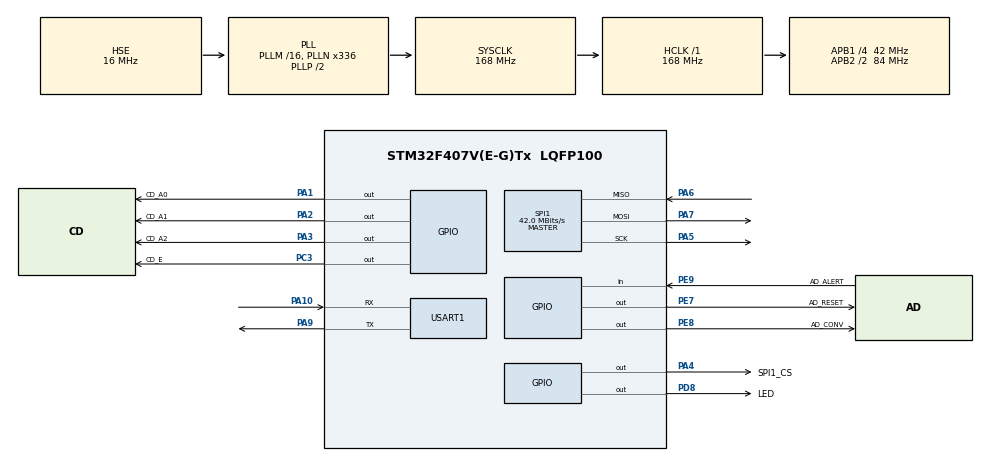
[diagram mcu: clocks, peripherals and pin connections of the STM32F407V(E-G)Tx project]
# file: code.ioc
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Dma.Request0=SPI1_RX
Dma.Request1=SPI1_TX
Dma.Request2=USART1_RX
Dma.Request3=USART1_TX
Dma.SPI1_RX.0.Direction=DMA_PERIPH_TO_MEMORY
Dma.SPI1_RX.0.FIFOMode=DMA_FIFOMODE_DISABLE
Dma.SPI1_RX.0.Instance=DMA2_Stream0
Dma.SPI1_RX.0.MemDataAlignment=DMA_MDATAALIGN_HALFWORD
Dma.SPI1_RX.0.MemInc=DMA_MINC_ENABLE
Dma.SPI1_RX.0.Mode=DMA_NORMAL
Dma.SPI1_RX.0.PeriphDataAlignment=DMA_PDATAALIGN_HALFWORD
Dma.SPI1_RX.0.PeriphInc=DMA_PINC_DISABLE
Dma.SPI1_RX.0.Priority=DMA_PRIORITY_VERY_HIGH
Dma.SPI1_TX.1.Direction=DMA_MEMORY_TO_PERIPH
Dma.SPI1_TX.1.FIFOMode=DMA_FIFOMODE_DISABLE
Dma.SPI1_TX.1.Instance=DMA2_Stream3
Dma.SPI1_TX.1.MemDataAlignment=DMA_MDATAALIGN_HALFWORD
Dma.SPI1_TX.1.MemInc=DMA_MINC_ENABLE
Dma.SPI1_TX.1.Mode=DMA_NORMAL
Dma.SPI1_TX.1.PeriphDataAlignment=DMA_PDATAALIGN_HALFWORD
Dma.SPI1_TX.1.PeriphInc=DMA_PINC_DISABLE
Dma.SPI1_TX.1.Priority=DMA_PRIORITY_VERY_HIGH
Dma.USART1_RX.2.Direction=DMA_PERIPH_TO_MEMORY
Dma.USART1_RX.2.FIFOMode=DMA_FIFOMODE_DISABLE
Dma.USART1_RX.2.Instance=DMA2_Stream2
Dma.USART1_RX.2.MemDataAlignment=DMA_MDATAALIGN_BYTE
Dma.USART1_RX.2.MemInc=DMA_MINC_ENABLE
Dma.USART1_RX.2.Mode=DMA_NORMAL
Dma.USART1_RX.2.PeriphDataAlignment=DMA_PDATAALIGN_BYTE
Dma.USART1_RX.2.PeriphInc=DMA_PINC_DISABLE
Dma.USART1_RX.2.Priority=DMA_PRIORITY_LOW
Dma.USART1_TX.3.Direction=DMA_MEMORY_TO_PERIPH
Dma.USART1_TX.3.FIFOMode=DMA_FIFOMODE_DISABLE
Dma.USART1_TX.3.Instance=DMA2_Stream7
Dma.USART1_TX.3.MemDataAlignment=DMA_MDATAALIGN_HALFWORD
Dma.USART1_TX.3.MemInc=DMA_MINC_ENABLE
Dma.USART1_TX.3.Mode=DMA_NORMAL
Dma.USART1_TX.3.PeriphDataAlignment=DMA_PDATAALIGN_HALFWORD
Dma.USART1_TX.3.PeriphInc=DMA_PINC_DISABLE
Dma.USART1_TX.3.Priority=DMA_PRIORITY_LOW
FREERTOS.Tasks01=defaultTask,24,128,StartDefaultTask,Default,NULL,Dynamic,NULL,NULL
Mcu.Family=STM32F4
Mcu.Name=STM32F407V(E-G)Tx
Mcu.Package=LQFP100
NVIC.DMA2_Stream0_IRQn=true\:5\:0\:false\:false\:true\:true\:false\:true\:true
NVIC.DMA2_Stream2_IRQn=true\:5\:0\:false\:false\:true\:true\:false\:true\:true
NVIC.DMA2_Stream3_IRQn=true\:5\:0\:false\:false\:true\:true\:false\:true\:true
NVIC.DMA2_Stream7_IRQn=true\:5\:0\:false\:false\:true\:true\:false\:true\:true
NVIC.PriorityGroup=NVIC_PRIORITYGROUP_4
NVIC.SPI1_IRQn=true\:5\:0\:false\:false\:true\:true\:true\:true\:true
NVIC.TIM6_DAC_IRQn=true\:15\:0\:false\:false\:true\:false\:false\:true\:true
NVIC.TimeBase=TIM6_DAC_IRQn
NVIC.TimeBaseIP=TIM6
NVIC.USART1_IRQn=true\:5\:0\:false\:false\:true\:true\:true\:true\:true
PA1.GPIO_Label=CD_A0
PA1.Signal=GPIO_Output
PA10.Mode=Asynchronous
PA10.Signal=USART1_RX
PA13.Mode=Serial_Wire
PA13.Signal=SYS_JTMS-SWDIO
PA14.Mode=Serial_Wire
PA14.Signal=SYS_JTCK-SWCLK
PA2.GPIO_Label=CD_A1
PA2.Signal=GPIO_Output
PA3.GPIO_Label=CD_A2
PA3.Signal=GPIO_Output
PA4.GPIO_Label=SPI1_CS
PA4.GPIO_Speed=GPIO_SPEED_FREQ_VERY_HIGH
PA4.PinState=GPIO_PIN_SET
PA4.Signal=GPIO_Output
PA5.Mode=Full_Duplex_Master
PA5.Signal=SPI1_SCK
PA6.Mode=Full_Duplex_Master
PA6.Signal=SPI1_MISO
PA7.Mode=Full_Duplex_Master
PA7.Signal=SPI1_MOSI
PA9.Mode=Asynchronous
PA9.Signal=USART1_TX
PC3.GPIO_Label=CD_E
PC3.PinState=GPIO_PIN_SET
PC3.Signal=GPIO_Output
PD8.GPIO_Label=LED
PD8.Signal=GPIO_Output
PE7.GPIO_Label=AD_RESET
PE7.GPIO_ModeDefaultOutputPP=GPIO_MODE_OUTPUT_PP
PE7.PinState=GPIO_PIN_SET
PE7.Signal=GPIO_Output
PE8.GPIO_Label=AD_CONV
PE8.PinState=GPIO_PIN_SET
PE8.Signal=GPIO_Output
PE9.GPIO_Label=AD_ALERT
PE9.GPIO_PuPd=GPIO_PULLDOWN
PE9.Signal=GPIO_Input
PH0-OSC_IN.Mode=HSE-External-Oscillator
PH0-OSC_IN.Signal=RCC_OSC_IN
PH1-OSC_OUT.Mode=HSE-External-Oscillator
PH1-OSC_OUT.Signal=RCC_OSC_OUT
ProjectManager.HeapSize=0x200
ProjectManager.StackSize=0x400
ProjectManager.TargetToolchain=MDK-ARM V5.32
RCC.48MHZClocksFreq_Value=84000000
RCC.AHBFreq_Value=168000000
RCC.APB1CLKDivider=RCC_HCLK_DIV4
RCC.APB1Freq_Value=42000000
RCC.APB1TimFreq_Value=84000000
RCC.APB2CLKDivider=RCC_HCLK_DIV2
RCC.APB2Freq_Value=84000000
RCC.APB2TimFreq_Value=168000000
RCC.CortexFreq_Value=168000000
RCC.HCLKFreq_Value=168000000
RCC.HSE_VALUE=16000000
RCC.HSI_VALUE=16000000
RCC.LSE_VALUE=32768
RCC.PLLN=336
RCC.PLLSourceVirtual=RCC_PLLSOURCE_HSE
RCC.SYSCLKFreq_VALUE=168000000
RCC.SYSCLKSource=RCC_SYSCLKSOURCE_PLLCLK
RCC.VCOOutputFreq_Value=336000000
SPI1.BaudRatePrescaler=SPI_BAUDRATEPRESCALER_2
SPI1.CalculateBaudRate=42.0 MBits/s
SPI1.DataSize=SPI_DATASIZE_16BIT
SPI1.Direction=SPI_DIRECTION_2LINES
SPI1.Mode=SPI_MODE_MASTER
SPI1.VirtualType=VM_MASTER
USART1.VirtualMode=VM_ASYNC
VP_FREERTOS_VS_CMSIS_V2.Mode=CMSIS_V2
VP_SYS_VS_tim6.Mode=TIM6
board=custom

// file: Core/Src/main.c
/* USER CODE BEGIN Header */
/**
  ******************************************************************************
  * @file           : main.c
  * @brief          : Main program body
  ******************************************************************************
  * @attention
  *
  * Copyright (c) 2024 STMicroelectronics.
  * All rights reserved.
  *
  * This software is licensed under terms that can be found in the LICENSE file
  * in the root directory of this software component.
  * If no LICENSE file comes with this software, it is provided AS-IS.
  *
  ******************************************************************************
  */
/* USER CODE END Header */
#include "main.h"
#include "cmsis_os.h"
#include "dma.h"
#include "spi.h"
#include "usart.h"
#include "gpio.h"

/* USER CODE BEGIN Includes */
#include "AD_Control.h"
/* USER CODE END Includes */

void SystemClock_Config(void);
void MX_FREERTOS_Init(void);

int main(void)
{

  /* MCU Configuration--------------------------------------------------------*/

  /* Reset of all peripherals, Initializes the Flash interface and the Systick. */
  HAL_Init();

  /* Configure the system clock */
  SystemClock_Config();

  /* Initialize all configured peripherals */
  MX_GPIO_Init();
  MX_DMA_Init();
  MX_SPI1_Init();
  MX_USART1_UART_Init();
  /* USER CODE BEGIN 2 */
	MX_AD_Init();
  /* USER CODE END 2 */

  /* Init scheduler */
  osKernelInitialize();  /* Call init function for freertos objects (in freertos.c) */
  MX_FREERTOS_Init();

  /* Start scheduler */
  osKernelStart();

  /* We should never get here as control is now taken by the scheduler */
  /* Infinite loop */
  while (1)
  {

  }
}

void SystemClock_Config(void)
{
  RCC_OscInitTypeDef RCC_OscInitStruct = {0};
  RCC_ClkInitTypeDef RCC_ClkInitStruct = {0};

  /** Configure the main internal regulator output voltage
  */
  __HAL_RCC_PWR_CLK_ENABLE();
  __HAL_PWR_VOLTAGESCALING_CONFIG(PWR_REGULATOR_VOLTAGE_SCALE1);

  /** Initializes the RCC Oscillators according to the specified parameters
  * in the RCC_OscInitTypeDef structure.
  */
  RCC_OscInitStruct.OscillatorType = RCC_OSCILLATORTYPE_HSE;
  RCC_OscInitStruct.HSEState = RCC_HSE_ON;
  RCC_OscInitStruct.PLL.PLLState = RCC_PLL_ON;
  RCC_OscInitStruct.PLL.PLLSource = RCC_PLLSOURCE_HSE;
  RCC_OscInitStruct.PLL.PLLM = 16;
  RCC_OscInitStruct.PLL.PLLN = 336;
  RCC_OscInitStruct.PLL.PLLP = RCC_PLLP_DIV2;
  RCC_OscInitStruct.PLL.PLLQ = 4;
  if (HAL_RCC_OscConfig(&RCC_OscInitStruct) != HAL_OK)
  {
    Error_Handler();
  }

  /** Initializes the CPU, AHB and APB buses clocks
  */
  RCC_ClkInitStruct.ClockType = RCC_CLOCKTYPE_HCLK|RCC_CLOCKTYPE_SYSCLK
                              |RCC_CLOCKTYPE_PCLK1|RCC_CLOCKTYPE_PCLK2;
  RCC_ClkInitStruct.SYSCLKSource = RCC_SYSCLKSOURCE_PLLCLK;
  RCC_ClkInitStruct.AHBCLKDivider = RCC_SYSCLK_DIV1;
  RCC_ClkInitStruct.APB1CLKDivider = RCC_HCLK_DIV4;
  RCC_ClkInitStruct.APB2CLKDivider = RCC_HCLK_DIV2;

  if (HAL_RCC_ClockConfig(&RCC_ClkInitStruct, FLASH_LATENCY_5) != HAL_OK)
  {
    Error_Handler();
  }
}

void HAL_TIM_PeriodElapsedCallback(TIM_HandleTypeDef *htim)
{
  if (htim->Instance == TIM6) {
    HAL_IncTick();
  }
}

void Error_Handler(void)
{
  __disable_irq();
  while (1)
  {
  }
}

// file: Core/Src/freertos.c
/* USER CODE BEGIN Header */
/**
  ******************************************************************************
  * File Name          : freertos.c
  * Description        : Code for freertos applications
  ******************************************************************************
  * @attention
  *
  * Copyright (c) 2024 STMicroelectronics.
  * All rights reserved.
  *
  * This software is licensed under terms that can be found in the LICENSE file
  * in the root directory of this software component.
  * If no LICENSE file comes with this software, it is provided AS-IS.
  *
  ******************************************************************************
  */
/* USER CODE END Header */

#include "FreeRTOS.h"
#include "task.h"
#include "main.h"
#include "cmsis_os.h"

/* USER CODE BEGIN Includes */
#include "spi.h"
#include "stdio.h"
#include "usart.h"
#include "queue.h"
#include "CD_Control.h"
#include "AD_Control.h"
/* USER CODE END Includes */

/* USER CODE BEGIN PD */
#define user_main_printf(format, ...) printf( format "\r\n", ##__VA_ARGS__)
/* USER CODE END PD */

/* USER CODE BEGIN Variables */

uint16_t RData;
uint16_t Alert;
uint16_t V_Matrix[8][8] = {0};

int fputc(int ch, FILE *f)

{
	uint16_t temp = ch;
  HAL_UART_Transmit(&huart1, (uint8_t *)&temp, sizeof(temp), 0xffff);

  return ch;

}

osThreadId_t LEDTaskHandle;
const osThreadAttr_t LEDTask_attributes = {
  .name = "LEDTask",
  .stack_size = 128 * 4,
  .priority = (osPriority_t) osPriorityNormal,
};
void StartLEDTask(void *argument);

osThreadId_t ADTaskHandle;
const osThreadAttr_t ADTask_attributes = {
  .name = "ADTask",
  .stack_size = 128 * 4,
  .priority = (osPriority_t) osPriorityLow,
};
void StartADTask(void *argument);

osThreadId_t DataTxTaskHandle;
const osThreadAttr_t DataTxTask_attributes = {
  .name = "DataTxTask",
  .stack_size = 128 * 4,
  .priority = (osPriority_t) osPriorityNormal,
};
void DataTxTask(void *argument);

void HAL_SPI_TxRxCpltCallback(SPI_HandleTypeDef *hspi);

QueueHandle_t myDataQueue01Handle;

/* USER CODE END Variables */
/* Definitions for defaultTask */
osThreadId_t defaultTaskHandle;
const osThreadAttr_t defaultTask_attributes = {
  .name = "defaultTask",
  .stack_size = 128 * 4,
  .priority = (osPriority_t) osPriorityNormal,
};

void StartDefaultTask(void *argument);

void MX_FREERTOS_Init(void); /* (MISRA C 2004 rule 8.1) */

void MX_FREERTOS_Init(void) {

  /* USER CODE BEGIN RTOS_QUEUES */
	myDataQueue01Handle = xQueueCreate(64, sizeof(uint16_t));
  /* add queues, ... */
  /* USER CODE END RTOS_QUEUES */

  /* Create the thread(s) */
  /* creation of defaultTask */
  defaultTaskHandle = osThreadNew(StartDefaultTask, NULL, &defaultTask_attributes);

  /* USER CODE BEGIN RTOS_THREADS */
	LEDTaskHandle = osThreadNew(StartLEDTask, NULL, &LEDTask_attributes);
	ADTaskHandle = osThreadNew(StartADTask, NULL, &ADTask_attributes);
	DataTxTaskHandle = osThreadNew(DataTxTask, NULL, &DataTxTask_attributes);
  /* add threads, ... */
  /* USER CODE END RTOS_THREADS */

}

void StartDefaultTask(void *argument)
{
  for(;;)
  {
    osDelay(1);
  }
}

/* USER CODE BEGIN Application */
  /* LED test */
void StartLEDTask(void *argument)
{
  for(;;)
  {
		HAL_GPIO_WritePin(LED_GPIO_Port, LED_Pin, GPIO_PIN_RESET);
		osDelay(100);
		HAL_GPIO_WritePin(LED_GPIO_Port, LED_Pin, GPIO_PIN_SET);
		osDelay(100);
  }
}

/* AD code */
void StartADTask(void *argument)
{
	uint8_t CD_Channel = 0;
	uint16_t cmd[2] = {0x0000, 0x1800};
  for(;;)
  {
		CD_Control(CD_Channel);
		for(int i = 0; i < 8; i++){
			CONV_Start();
			CONV_End();
			osDelay(1);
			SPI_CS_Enable();
			HAL_SPI_TransmitReceive_DMA(&hspi1, (uint8_t *)&cmd[0], (uint8_t*)&RData, 1);
			SPI_CS_Disable();
			osDelay(1);
			user_main_printf("%d",i);
			if(RData && 0x0400 != 0 ){
				SPI_CS_Enable();
				HAL_SPI_Transmit_DMA(&hspi1, (uint8_t *)&cmd[1], 1);
				HAL_SPI_Receive_DMA(&hspi1, (uint8_t*)&Alert, 1);
				SPI_CS_Disable();
				osDelay(1);
			}
		}
		CD_Channel += 1;
		if(CD_Channel > 7)
			CD_Channel = 0;
  }
}

void DataTxTask(void *argument)
{
	BaseType_t status;
	uint16_t msg;
	for(;;)
	{
		status = xQueueReceive(myDataQueue01Handle, &msg, portMAX_DELAY);
		if(status == pdPASS){
			user_main_printf("The ADC data is %d", msg);
		}
		else
			user_main_printf("No data");
	}
}

void HAL_SPI_TxRxCpltCallback(SPI_HandleTypeDef *hspi){

	RData <<= 4;
	RData >>= 4;
	/*xQueueSend(myDataQueue01Handle, &RData, 0);*/
}

/* USER CODE END Application */
